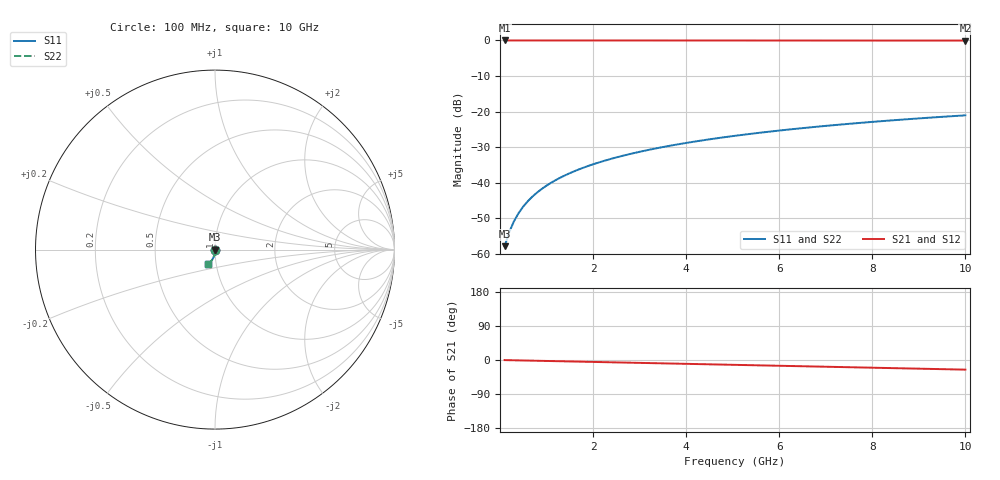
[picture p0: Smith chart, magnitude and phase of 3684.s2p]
# Hz S RI R 50.00
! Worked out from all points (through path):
!   100 points, 100 MHz to 10 GHz, reference 50 ohm
!   highest |S21| = -0.01 dB at 100 MHz (marker M1); lowest = 0.0 dB at 10 GHz (marker M2)
!   group delay of S21, straight-line fit = 7.07 ps
!   lowest |S11| = -57.8 dB at 100 MHz (marker M3), VSWR 1.00, Z = 50.1 - j0.0914 ohm
!   |S11| at or under -10 dB: start of sweep to end of sweep
!   |S22| runs from -57.8 to -21.0 dB; largest |S21 - S12| = 0
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1e8  0.000909 -0.000912  0.9991 -0.00441  0.9991 -0.00441  0.000909 -0.000912
2e8  0.000901 -0.00182  0.999 -0.00882  0.999 -0.00882  0.000901 -0.00182
3e8  0.000883 -0.00274  0.999 -0.0132  0.999 -0.0132  0.000883 -0.00274
4e8  0.000856 -0.00365  0.9989 -0.0176  0.9989 -0.0176  0.000856 -0.00365
5e8  0.00082 -0.00456  0.9988 -0.0221  0.9988 -0.0221  0.00082 -0.00456
6e8  0.000777 -0.00547  0.9987 -0.0265  0.9987 -0.0265  0.000777 -0.00547
7e8  0.000724 -0.00638  0.9985 -0.0309  0.9985 -0.0309  0.000724 -0.00638
9e8  0.000595 -0.0082  0.9982 -0.0397  0.9982 -0.0397  0.000595 -0.0082
1e9  0.000519 -0.00911  0.998 -0.0441  0.998 -0.0441  0.000519 -0.00911
1.2e9  0.000341 -0.0109  0.9976 -0.0529  0.9976 -0.0529  0.000341 -0.0109
1.5e9  1.29e-05 -0.0137  0.9967 -0.0661  0.9967 -0.0661  1.29e-05 -0.0137
1.8e9  -0.000387 -0.0164  0.9957 -0.0793  0.9957 -0.0793  -0.000387 -0.0164
2.1e9  -0.00086 -0.0191  0.9945 -0.0925  0.9945 -0.0925  -0.00086 -0.0191
2.5e9  -0.0016 -0.0227  0.9926 -0.1101  0.9926 -0.1101  -0.0016 -0.0227
2.9e9  -0.00247 -0.0262  0.9904 -0.1277  0.9904 -0.1277  -0.00247 -0.0262
3.4e9  -0.00374 -0.0306  0.9872 -0.1495  0.9872 -0.1495  -0.00374 -0.0306
4.2e9  -0.00617 -0.0376  0.981 -0.1844  0.981 -0.1844  -0.00617 -0.0376
5.1e9  -0.00949 -0.0452  0.9725 -0.2233  0.9725 -0.2233  -0.00949 -0.0452
5.9e9  -0.0129 -0.0517  0.9636 -0.2576  0.9636 -0.2576  -0.0129 -0.0517
6.7e9  -0.0169 -0.058  0.9534 -0.2916  0.9534 -0.2916  -0.0169 -0.058
8.4e9  -0.0266 -0.0703  0.9276 -0.3625  0.9276 -0.3625  -0.0266 -0.0703
1e10  -0.0374 -0.0804  0.8983 -0.4273  0.8983 -0.4273  -0.0374 -0.0804
